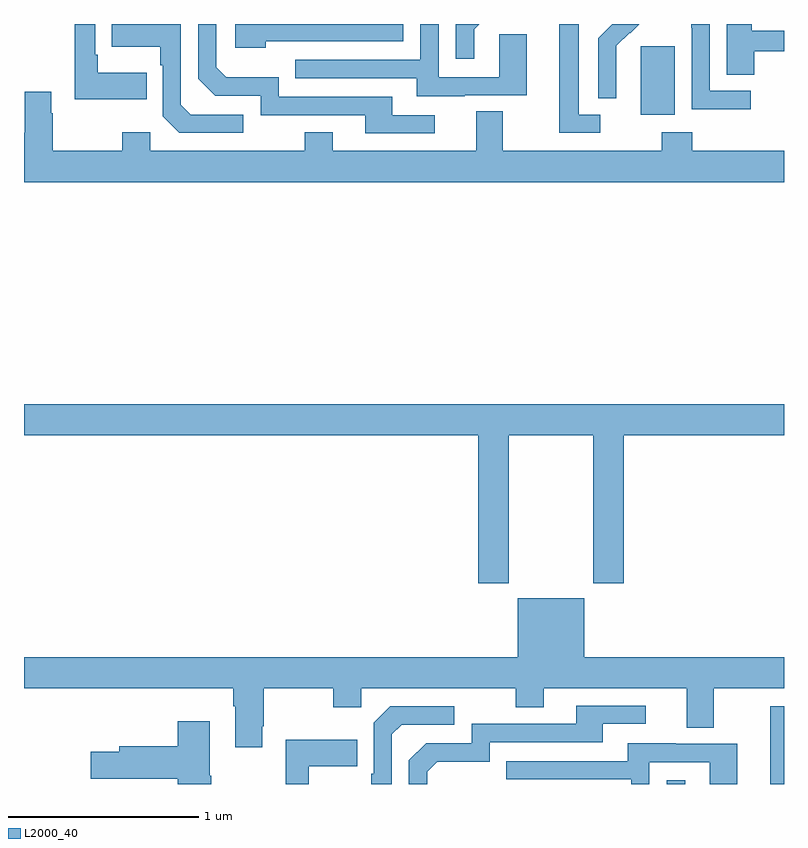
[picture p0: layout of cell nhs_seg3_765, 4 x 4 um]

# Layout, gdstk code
import gdstk
lib = gdstk.Library(unit=1e-6, precision=1e-09)
def R(c, l, rs):  # rectangles x0, y0, x1, y1
    for r in rs: c.add(gdstk.rectangle(r[:2], r[2:], *l))
def P(c, l, *ps):  # polygons
    for p in ps: c.add(gdstk.Polygon(p, *l))
L2000_40 = (2000, 40)

nhs_seg3_765 = lib.new_cell('nhs_seg3_765')
R(nhs_seg3_765, L2000_40, [(152.382,712.4,152.479,712.42), (152.927,712.4,153,712.809), (152.246,715.922,152.425,716.283)])
P(nhs_seg3_765, L2000_40, [(151.321,716.025),(151.645,716.025),(151.645,716.345),(151.5,716.345),(151.5,716.121),(151.182,716.121),(151.182,716.4),(151.086,716.4),(151.086,716.211),(150.427,716.211),(150.427,716.115),(151.067,716.115),(151.067,716.021),(151.321,716.021)],
  [(152.843,716.256),(153,716.256),(153,716.365),(152.83,716.365),(152.83,716.4),(152.699,716.4),(152.699,716.134),(152.843,716.134)],
  [(152.032,715.923),(151.921,715.923),(151.921,716.4),(151.817,716.4),(151.817,715.827),(152.032,715.827)],
  [(151.369,716.373),(151.396,716.4),(151.272,716.4),(151.272,716.217),(151.369,716.217)],
  [(149.645,716.143),(149.389,716.143),(149.389,716.239),(149.376,716.239),(149.376,716.4),(149.268,716.4),(149.268,716.003),(149.645,716.003)],
  [(150.154,715.923),(149.877,715.923),(149.826,715.974),(149.826,716.4),(149.461,716.4),(149.461,716.279),(149.718,716.279),(149.718,716.183),(149.73,716.183),(149.73,715.914),(149.817,715.827),(150.154,715.827)],
  [(152.824,716.049),(152.61,716.049),(152.61,716.4),(152.512,716.4),(152.512,716.38),(152.514,716.38),(152.514,715.951),(152.824,715.951)],
  [(152.118,716.162),(152.117,716.162),(152.117,716.285),(152.187,716.355),(152.19,716.352),(152.238,716.4),(152.094,716.4),(152.095,716.399),(152.022,716.326),(152.022,716.008),(152.118,716.008)],
  [(150.272,716.31),(150.996,716.31),(150.996,716.4),(150.111,716.4),(150.111,716.276),(150.272,716.276)],
  [(151.162,715.92),(150.937,715.92),(150.937,716.016),(150.342,716.016),(150.342,716.119),(150.065,716.119),(150.012,716.172),(150.012,716.4),(149.916,716.4),(149.916,716.112),(150.006,716.022),(150.246,716.022),(150.246,715.92),(150.797,715.92),(150.797,715.824),(151.162,715.824)],
  [(153,715.732),(152.516,715.732),(152.516,715.831),(152.356,715.831),(152.356,715.732),(151.519,715.732),(151.519,715.94),(151.379,715.94),(151.379,715.732),(150.625,715.732),(150.625,715.831),(150.478,715.831),(150.478,715.732),(149.664,715.732),(149.664,715.831),(149.518,715.831),(149.518,715.732),(149.151,715.732),(149.151,715.931),(149.143,715.931),(149.143,716.044),(149.003,716.044),(149.003,715.828),(149,715.828),(149,715.568),(153,715.568)],
  [(151.551,714.236),(151.996,714.236),(151.996,713.457),(152.156,713.457),(152.156,714.236),(153,714.236),(153,714.4),(149,714.4),(149,714.236),(151.391,714.236),(151.391,713.457),(151.551,713.457)],
  [(150.253,712.705),(150.261,712.705),(150.261,712.904),(150.628,712.904),(150.628,712.805),(150.774,712.805),(150.774,712.904),(151.588,712.904),(151.588,712.805),(151.735,712.805),(151.735,712.904),(152.489,712.904),(152.489,712.696),(152.629,712.696),(152.629,712.904),(153,712.904),(153,713.068),(151.948,713.068),(151.948,713.377),(151.598,713.377),(151.598,713.068),(149,713.068),(149,712.904),(150.101,712.904),(150.101,712.808),(150.113,712.808),(150.113,712.593),(150.253,712.593)],
  [(151.122,712.464),(151.175,712.517),(151.452,712.517),(151.452,712.62),(152.047,712.62),(152.047,712.716),(152.272,712.716),(152.272,712.812),(151.907,712.812),(151.907,712.716),(151.356,712.716),(151.356,712.614),(151.116,712.614),(151.026,712.524),(151.026,712.4),(151.122,712.4)],
  [(150.936,712.662),(150.987,712.713),(151.264,712.713),(151.264,712.809),(150.927,712.809),(150.84,712.722),(150.84,712.453),(150.828,712.453),(150.828,712.4),(150.936,712.4)],
  [(149.985,712.443),(149.977,712.443),(149.977,712.729),(149.81,712.729),(149.81,712.599),(149.501,712.599),(149.501,712.569),(149.352,712.569),(149.352,712.427),(149.81,712.427),(149.81,712.4),(149.985,712.4)],
  [(150.499,712.493),(150.755,712.493),(150.755,712.633),(150.378,712.633),(150.378,712.4),(150.499,712.4)],
  [(152.292,712.515),(152.61,712.515),(152.61,712.4),(152.755,712.4),(152.755,712.611),(152.431,712.611),(152.431,712.615),(152.177,712.615),(152.177,712.521),(151.537,712.521),(151.537,712.425),(152.196,712.425),(152.196,712.4),(152.292,712.4)])

lib.write_gds('nhs_seg3_765.gds')
